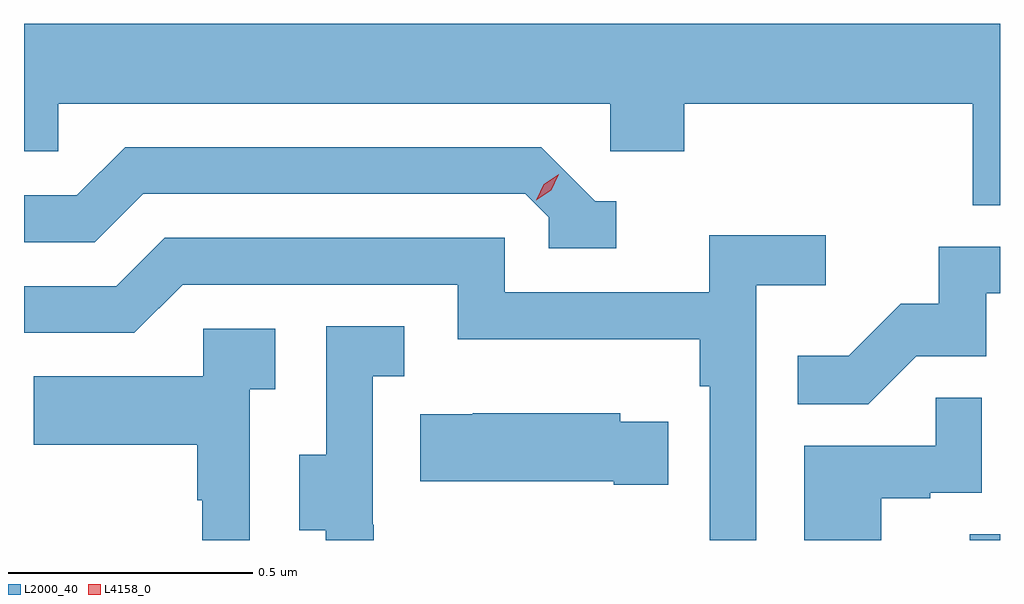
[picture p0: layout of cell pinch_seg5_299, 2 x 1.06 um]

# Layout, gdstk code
import gdstk
lib = gdstk.Library(unit=1e-6, precision=1e-09)
def R(c, l, rs):  # rectangles x0, y0, x1, y1
    for r in rs: c.add(gdstk.rectangle(r[:2], r[2:], *l))
def P(c, l, *ps):  # polygons
    for p in ps: c.add(gdstk.Polygon(p, *l))
L2000_40 = (2000, 40)
L4158_0 = (4158, 0)

pinch_seg5_299 = lib.new_cell('pinch_seg5_299')
R(pinch_seg5_299, L2000_40, [(905.831,891.829,905.893,891.842)])
P(pinch_seg5_299, L2000_40, [(905.893,892.888),(903.893,892.888),(903.893,892.626),(903.963,892.626),(903.963,892.724),(905.094,892.724),(905.094,892.626),(905.246,892.626),(905.246,892.724),(905.837,892.724),(905.837,892.516),(905.893,892.516)],
  [(905.107,892.524),(905.064,892.524),(904.953,892.635),(904.1,892.635),(904.001,892.536),(903.894,892.536),(903.894,892.533),(903.893,892.533),(903.893,892.44),(904.038,892.44),(904.137,892.539),(904.92,892.539),(904.968,892.491),(904.968,892.428),(905.107,892.428)],
  [(905.394,892.352),(905.536,892.352),(905.536,892.454),(905.297,892.454),(905.297,892.338),(904.878,892.338),(904.878,892.449),(904.181,892.449),(904.082,892.35),(903.893,892.35),(903.893,892.254),(904.119,892.254),(904.218,892.353),(904.782,892.353),(904.782,892.241),(905.278,892.241),(905.278,892.145),(905.298,892.145),(905.298,891.829),(905.394,891.829)],
  [(905.721,892.206),(905.865,892.206),(905.865,892.335),(905.893,892.335),(905.893,892.431),(905.767,892.431),(905.767,892.314),(905.69,892.314),(905.583,892.207),(905.479,892.207),(905.479,892.108),(905.623,892.108)],
  [(904.61,891.861),(904.608,891.861),(904.608,892.165),(904.672,892.165),(904.672,892.268),(904.512,892.268),(904.512,892.005),(904.457,892.005),(904.457,891.85),(904.511,891.85),(904.511,891.829),(904.61,891.829)],
  [(904.356,892.139),(904.408,892.139),(904.408,892.263),(904.26,892.263),(904.26,892.165),(903.913,892.165),(903.913,892.025),(904.248,892.025),(904.248,891.911),(904.258,891.911),(904.258,891.829),(904.356,891.829)],
  [(905.65,891.915),(905.75,891.915),(905.75,891.927),(905.856,891.927),(905.856,892.121),(905.761,892.121),(905.761,892.023),(905.492,892.023),(905.492,891.829),(905.65,891.829)],
  [(905.213,892.072),(905.115,892.072),(905.115,892.09),(904.813,892.09),(904.813,892.087),(904.705,892.087),(904.705,891.95),(905.102,891.95),(905.102,891.943),(905.213,891.943)])
P(pinch_seg5_299, L4158_0, [(904.943,892.526),(904.943,892.526),(904.958,892.559),(904.989,892.579),(904.989,892.579),(904.989,892.579),(904.973,892.546),(904.943,892.526)])

lib.write_gds('pinch_seg5_299.gds')
